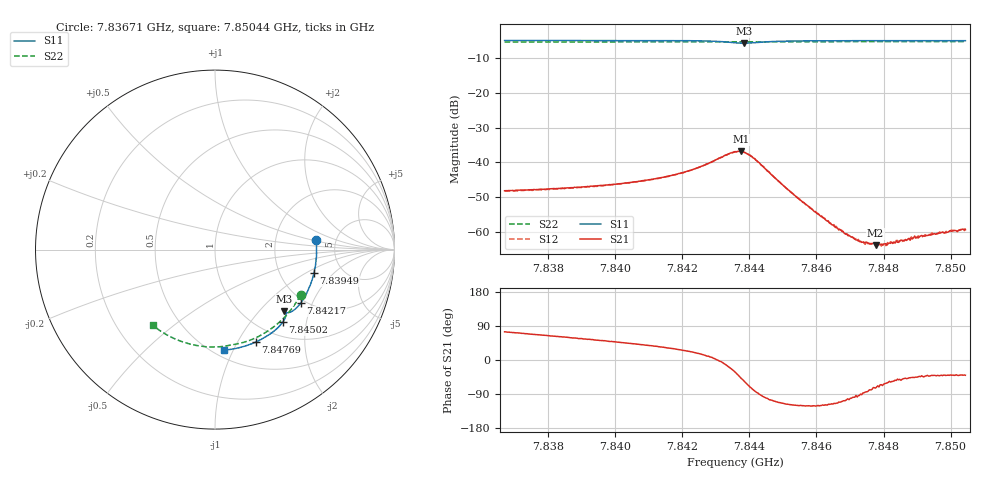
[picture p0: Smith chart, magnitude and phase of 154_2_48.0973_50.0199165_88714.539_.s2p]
#  HZ  S  RI  R  50.00
! Rohde & Schwarz Vector Network Analyzer
! Rohde-Schwarz,ZNB20-2Port,1311601062101988,3.16
! Created: UTC 12/23/2023, 3:50:05 AM
! freq[Hz]  re:S11  im:S11  re:S21  im:S21  re:S12  im:S12  re:S22  im:S22
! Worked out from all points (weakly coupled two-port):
!   401 points, 7.83671 GHz to 7.85044 GHz, reference 50 ohm
!   highest |S21| = -36.79 dB at 7.84375 GHz (marker M1); lowest = -63.8 dB at 7.84776 GHz (marker M2)
!   lowest |S11| = -5.7 dB at 7.84385 GHz (marker M3), VSWR 3.14, Z = 74.2 - j69.6 ohm
!   |S11| at or under -10 dB: nowhere
!   |S22| runs from -5.4 to -5.3 dB; largest |S21 - S12| = 0.00025
!   S11 on the Smith chart (normalised r, x): 7.83671 GHz: 3.51, +0.57; 7.83949 GHz: 3.12, -1.19; 7.84217 GHz: 1.89, -1.65; 7.84502 GHz: 1.26, -1.47; 7.84769 GHz: 0.79, -1.20; 7.85044 GHz: 0.56, -0.92
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7.836711e9  0.5634 0.0549  0.00105 0.00378  0.00111 0.00369  0.4767 -0.2526
7.83901e9  0.5582 -0.0976  0.00246 0.00372  0.00245 0.00363  0.3819 -0.3821
7.839491e9  0.5519 -0.1295  0.00284 0.00367  0.00279 0.00361  0.3574 -0.4052
7.84131e9  0.5094 -0.2457  0.00489 0.00342  0.00482 0.0034  0.253 -0.4783
7.842168e9  0.4775 -0.2979  0.0069 0.00298  0.00688 0.00298  0.1982 -0.5036
7.842614e9  0.4554 -0.3235  0.00868 0.00221  0.00864 0.00223  0.1686 -0.5141
7.84306e9  0.4275 -0.3447  0.0112 -5.73e-05  0.0111 -7.75e-05  0.1384 -0.5226
7.843575e9  0.3921 -0.3494  0.0122 -0.00752  0.012 -0.00751  0.1039 -0.5291
7.843747e9  0.3872 -0.3451  0.00981 -0.0106  0.00977 -0.0104  0.0932 -0.5309
7.84385e9  0.3872 -0.3433  0.00783 -0.0117  0.00784 -0.0115  0.0867 -0.532
7.844125e9  0.3934 -0.3481  0.00219 -0.0113  0.00235 -0.0114  0.0689 -0.5356
7.845017e9  0.377 -0.405  -0.00191 -0.00421  -0.00195 -0.00424  0.0069 -0.5425
7.845875e9  0.3343 -0.4493  -0.0011 -0.00181  -0.00108 -0.00184  -0.0537 -0.5408
7.846905e9  0.2763 -0.4898  -0.000229 -0.0009  -0.000265 -0.000903  -0.1251 -0.5294
7.847282e9  0.2538 -0.5021  -4.63e-05 -0.000735  -5.24e-05 -0.000727  -0.1509 -0.5232
7.847694e9  0.2288 -0.5143  0.000205 -0.000661  0.000166 -0.000645  -0.1783 -0.5146
7.847763e9  0.2247 -0.5161  0.000177 -0.000621  0.000234 -0.000651  -0.1831 -0.5131
7.848003e9  0.2097 -0.5225  0.000296 -0.000603  0.000293 -0.000584  -0.1989 -0.5073
7.848175e9  0.1991 -0.5267  0.000387 -0.00058  0.000374 -0.000587  -0.2102 -0.503
7.849136e9  0.138 -0.5457  0.000668 -0.000595  0.000618 -0.000575  -0.2707 -0.4735
7.849376e9  0.1223 -0.5494  0.000673 -0.000614  0.000658 -0.000635  -0.2851 -0.4651
7.85044e9  0.0524 -0.5598  0.000822 -0.000696  0.000867 -0.000729  -0.3463 -0.4224
